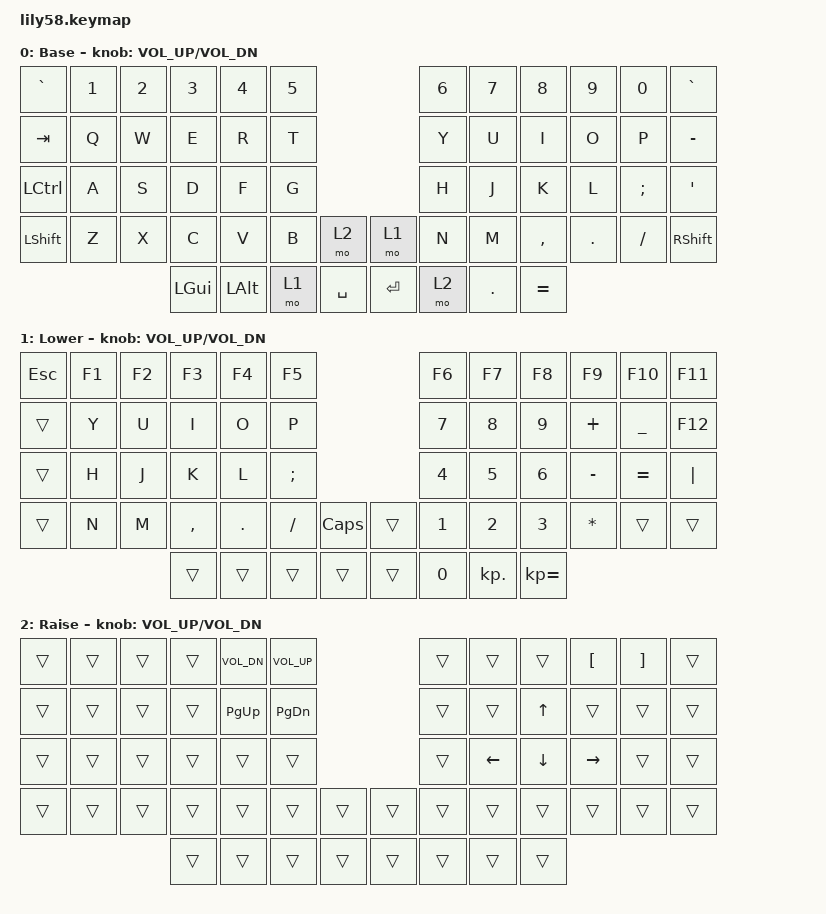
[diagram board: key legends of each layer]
/*
 * Copyright (c) 2020 The ZMK Contributors
 *
 * SPDX-License-Identifier: MIT
 */

#include <behaviors.dtsi>
#include <dt-bindings/zmk/keys.h>

/ {
    keymap {
        compatible = "zmk,keymap";

        default_layer {
            // ------------------------------------------------------------------------------------------------------------
            // |   ~   |  1  |  2  |  3   |  4   |  5   |                   |  6   |  7    |  8    |  9   |   0   |   `   |
            // |  TAB  |  Q  |  W  |  E   |  R   |  T   |                   |  Y   |  U    |  I    |  O   |   P   |   -   |
            // |  CTRL |  A  |  S  |  D   |  F   |  G   |                   |  H   |  J    |  K    |  L   |   ;   |   '   |
            // | SHIFT |  Z  |  X  |  C   |  V   |  B   |  RAISE |  | LOWER |  N   |  M    |  ,    |  .   |   /   | SHIFT |
            //                     | ALT  | GUI  | LOWER|  SPACE |  | ENTER | RAISE| BSPC  | GUI   |

            display-name = "Base";
            bindings = <
&kp GRAVE  &kp N1  &kp N2  &kp N3        &kp N4        &kp N5                        &kp N6  &kp N7   &kp N8     &kp N9   &kp N0    &kp GRAVE
&kp TAB    &kp Q   &kp W   &kp E         &kp R         &kp T                         &kp Y   &kp U    &kp I      &kp O    &kp P     &kp MINUS
&kp LCTRL  &kp A   &kp S   &kp D         &kp F         &kp G                         &kp H   &kp J    &kp K      &kp L    &kp SEMI  &kp SQT
&kp LSHFT  &kp Z   &kp X   &kp C         &kp V         &kp B   &mo 2        &mo 1    &kp N   &kp M    &kp COMMA  &kp DOT  &kp FSLH  &kp RSHFT
                           &kp LEFT_GUI  &kp LEFT_ALT  &mo 1   &kp SPACE    &kp RET  &mo 2   &kp DOT  &kp EQUAL
            >;

            sensor-bindings = <&inc_dec_kp C_VOL_UP C_VOL_DN>;
        };

        lower_layer {
            // ------------------------------------------------------------------------------------------------------------
            // | BTCLR | BT1 | BT2 |  BT3 |  BT4 |  BT5 |                   |      |       |       |      |       |       |
            // |  F1   |  F2 |  F3 |  F4  |  F5  |  F6  |                   |  F7  |  F8   |  F9   |  F10 |  F11  |  F12  |
            // |   `   |  !  |  @  |  #   |  $   |  %   |                   |  ^   |  &    |  *    |  (   |   )   |   ~   |
            // |       |     |     |      |      |      |        |  |       |      |  _    |  +    |  {   |   }   |  "|"  |
            //                     |      |      |      |        |  |       |      |       |       |

            display-name = "Lower";
            bindings = <
&kp ESCAPE  &kp F1  &kp F2  &kp F3     &kp F4      &kp F5                                 &kp F6        &kp F7        &kp F8        &kp F9     &kp F10    &kp F11
&trans      &kp Y   &kp U   &kp I      &kp O       &kp P                                  &kp NUMBER_7  &kp NUMBER_8  &kp NUMBER_9  &kp PLUS   &kp UNDER  &kp F12
&trans      &kp H   &kp J   &kp K      &kp L       &kp SEMICOLON                          &kp NUMBER_4  &kp NUMBER_5  &kp NUMBER_6  &kp MINUS  &kp EQUAL  &kp PIPE
&trans      &kp N   &kp M   &kp COMMA  &kp PERIOD  &kp SLASH      &kp CAPSLOCK    &trans  &kp NUMBER_1  &kp NUMBER_2  &kp NUMBER_3  &kp STAR   &trans     &trans
                            &trans     &trans      &trans         &trans          &trans  &kp NUMBER_0  &kp KP_DOT    &kp KP_EQUAL
            >;

            sensor-bindings = <&inc_dec_kp C_VOL_UP C_VOL_DN>;
        };

        raise_layer {
            // ------------------------------------------------------------------------------------------------------------
            // |       |     |     |      |      |      |                   |      |       |       |      |       |       |
            // |   `   |  1  |  2  |  3   |  4   |  5   |                   |  6   |   7   |   8   |  9   |   0   |       |
            // |   F1  |  F2 |  F3 |  F4  |  F5  |  F6  |                   |      |   <-  |   v   |  ^   |  ->   |       |
            // |   F7  |  F8 |  F9 |  F10 |  F11 |  F12 |        |  |       |  +   |   -   |   =   |  [   |   ]   |   \   |
            //                     |      |      |      |        |  |       |      |       |       |

            display-name = "Raise";
            bindings = <
&trans  &trans  &trans  &trans  &kp C_VOL_DN  &kp C_VOL_UP                     &trans  &trans    &trans        &kp LEFT_BRACKET  &kp RIGHT_BRACKET  &trans
&trans  &trans  &trans  &trans  &kp PAGE_UP   &kp PAGE_DOWN                    &trans  &trans    &kp UP_ARROW  &trans            &trans             &trans
&trans  &trans  &trans  &trans  &trans        &trans                           &trans  &kp LEFT  &kp DOWN      &kp RIGHT         &trans             &trans
&trans  &trans  &trans  &trans  &trans        &trans         &trans    &trans  &trans  &trans    &trans        &trans            &trans             &trans
                        &trans  &trans        &trans         &trans    &trans  &trans  &trans    &trans
            >;

            sensor-bindings = <&inc_dec_kp C_VOL_UP C_VOL_DN>;
        };
    };
};
